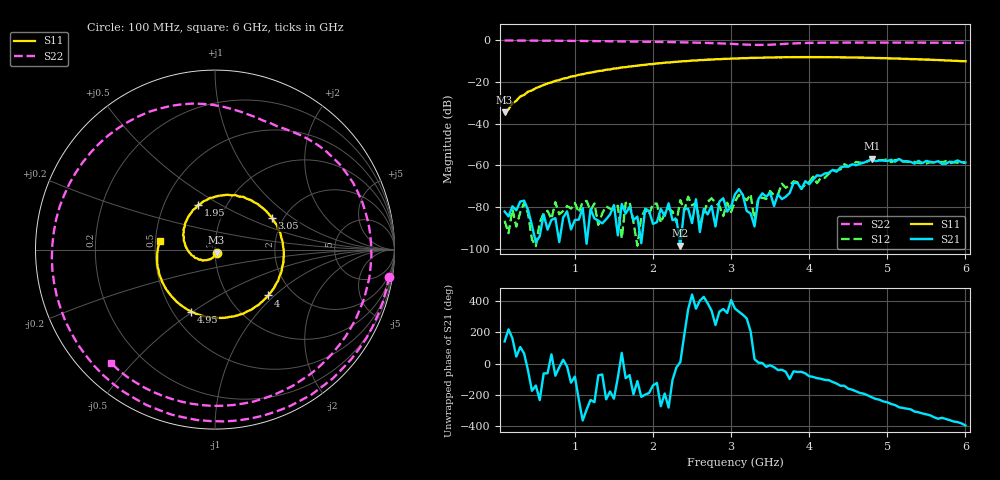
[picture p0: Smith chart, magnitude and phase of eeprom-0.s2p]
! Created with skrf 2.0.0 (http://scikit-rf.org).
# Hz S RI R 50.0
!freq ReS11 ImS11 ReS21 ImS21 ReS12 ImS12 ReS22 ImS22
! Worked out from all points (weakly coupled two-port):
!   119 points, 100 MHz to 6 GHz, reference 50 ohm
!   highest |S21| = -56.79 dB at 4.8 GHz (marker M1); lowest = -98.4 dB at 2.35 GHz (marker M2)
!   lowest |S11| = -34.6 dB at 100 MHz (marker M3), VSWR 1.04, Z = 50.9 - j1.66 ohm
!   |S11| at or under -10 dB: start of sweep to 2.446 GHz; 5.924 GHz to end of sweep
!   |S22| runs from -2.3 to -0.2 dB; largest |S21 - S12| = 0.00029
!   S11 on the Smith chart (normalised r, x): 100 MHz: 1.02, -0.03; 1.95 GHz: 0.74, +0.39; 3.05 GHz: 1.75, +0.71; 4 GHz: 1.51, -0.91; 4.95 GHz: 0.62, -0.49; 6 GHz: 0.53, +0.05
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1e8  0.00883 -0.0163  -6.25e-05 4.79e-05  -4.63e-05 -1.01e-05  0.9706 -0.1499
4e8  -0.0246 -0.053  6.16e-05 -6.04e-05  2.42e-05 -6.58e-05  0.8012 -0.5548
1.1e9  -0.1527 -0.00192  9.57e-05 -7.78e-06  -3.25e-05 0.000129  -0.0978 -0.9499
1.95e9  -0.0952 0.248  -8.02e-05 1.14e-05  4.65e-05 -4.72e-05  -0.9058 -0.1176
2.1e9  -0.0471 0.2757  5.14e-06 9.09e-05  -7.24e-06 4.15e-05  -0.898 0.0984
2.35e9  0.0525 0.3037  1.19e-05 2.07e-06  -1.83e-05 0.000147  -0.7757 0.4288
2.9e9  0.2736 0.2253  0.000162 -2.62e-05  6.12e-05 -4.32e-06  -0.1824 0.8098
3e9  0.3051 0.1913  6.92e-05 7.79e-05  2.3e-05 -7.34e-05  -0.0624 0.8116
3.05e9  0.3181 0.1771  0.000202 -2.42e-05  0.000135 2.02e-05  -0.00671 0.8054
3.1e9  0.3316 0.1532  0.000241 -0.00012  0.000188 -5.71e-05  0.0466 0.7956
3.25e9  0.3647 0.0912  -6.3e-05 -3.21e-05  -1.74e-06 -0.000204  0.187 0.752
3.3e9  0.3688 0.0678  3.04e-05 1.65e-05  4.25e-05 2.21e-05  0.2296 0.7368
3.5e9  0.3837 -0.0263  0.000217 -3.97e-05  0.000201 -0.000138  0.3859 0.6738
3.55e9  0.3819 -0.0524  9.87e-05 -4.09e-05  0.000182 -5.86e-05  0.4271 0.658
3.8e9  0.3523 -0.1723  0.000248 -0.000292  0.000231 -0.000347  0.6556 0.5136
4e9  0.2971 -0.2553  5.6e-05 -0.00035  -1.71e-05 -0.000402  0.7961 0.3191
4.05e9  0.2816 -0.2722  3.87e-05 -0.000455  9.46e-06 -0.000539  0.8216 0.2625
4.1e9  0.262 -0.2902  -3.06e-05 -0.000577  6.59e-05 -0.000369  0.8396 0.2039
4.8e9  -0.0629 -0.3714  -0.00117 0.000846  -0.0011 0.000839  0.6567 -0.5762
4.95e9  -0.1317 -0.3452  -0.000597 0.00116  -0.000601 0.00118  0.5282 -0.6959
5.05e9  -0.173 -0.3213  -0.000258 0.00134  -0.0002 0.00118  0.4316 -0.7599
6e9  -0.3082 0.0467  0.000936 -0.000699  0.00102 -0.000576  -0.5809 -0.6304
